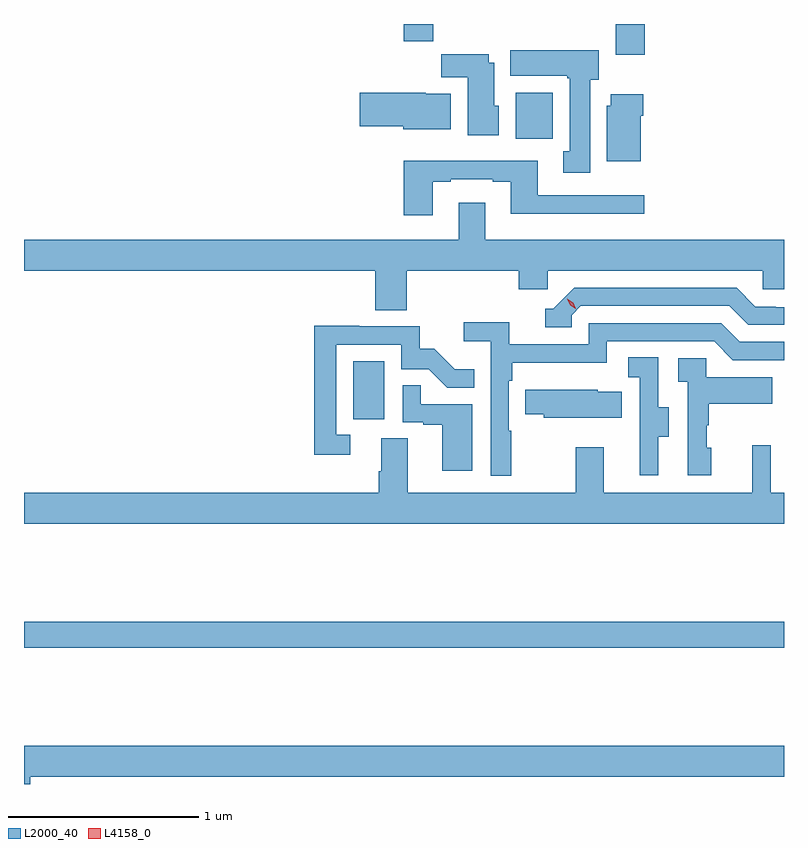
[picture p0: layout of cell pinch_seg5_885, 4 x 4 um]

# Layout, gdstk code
import gdstk
lib = gdstk.Library(unit=1e-6, precision=1e-09)
def R(c, l, rs):  # rectangles x0, y0, x1, y1
    for r in rs: c.add(gdstk.rectangle(r[:2], r[2:], *l))
def P(c, l, *ps):  # polygons
    for p in ps: c.add(gdstk.Polygon(p, *l))
L2000_40 = (2000, 40)
L4158_0 = (4158, 0)

pinch_seg5_885 = lib.new_cell('pinch_seg5_885')
R(pinch_seg5_885, L2000_40, [(874.432,885.412,878.432,885.548), (876.164,886.614,876.328,886.921), (877.019,888.092,877.216,888.334), (877.547,888.534,877.7,888.695), (876.431,888.604,876.587,888.695)])
P(pinch_seg5_885, L2000_40, [(877.411,888.402),(877.456,888.402),(877.456,888.556),(876.992,888.556),(876.992,888.422),(877.291,888.422),(877.291,888.409),(877.304,888.409),(877.304,888.026),(877.271,888.026),(877.271,887.913),(877.411,887.913)],
  [(876.931,888.264),(876.907,888.264),(876.907,888.49),(876.877,888.49),(876.877,888.535),(876.628,888.535),(876.628,888.416),(876.767,888.416),(876.767,888.11),(876.931,888.11)],
  [(876.679,888.328),(876.546,888.328),(876.546,888.334),(876.198,888.334),(876.198,888.158),(876.428,888.158),(876.428,888.14),(876.679,888.14)],
  [(877.678,888.212),(877.691,888.212),(877.691,888.325),(877.52,888.325),(877.52,888.264),(877.499,888.264),(877.499,887.972),(877.678,887.972)],
  [(876.583,887.865),(876.679,887.865),(876.679,887.877),(876.899,887.877),(876.899,887.865),(876.995,887.865),(876.995,887.696),(877.696,887.696),(877.696,887.793),(877.135,887.793),(877.135,887.974),(876.431,887.974),(876.431,887.688),(876.583,887.688)],
  [(876.446,887.396),(877.037,887.396),(877.037,887.298),(877.188,887.298),(877.188,887.396),(878.319,887.396),(878.319,887.298),(878.432,887.298),(878.432,887.56),(876.859,887.56),(876.859,887.755),(876.719,887.755),(876.719,887.56),(874.432,887.56),(874.432,887.396),(876.281,887.396),(876.281,887.188),(876.446,887.188)],
  [(877.314,887.163),(877.362,887.211),(878.145,887.211),(878.244,887.112),(878.432,887.112),(878.432,887.205),(878.388,887.205),(878.388,887.208),(878.281,887.208),(878.182,887.307),(877.329,887.307),(877.218,887.196),(877.175,887.196),(877.175,887.1),(877.314,887.1)],
  [(876.997,886.553),(876.984,886.553),(876.984,886.817),(877.003,886.817),(877.003,886.913),(877.5,886.913),(877.5,887.025),(878.064,887.025),(878.163,886.926),(878.432,886.926),(878.432,887.022),(878.2,887.022),(878.101,887.121),(877.404,887.121),(877.404,887.01),(876.986,887.01),(876.986,887.126),(876.747,887.126),(876.747,887.024),(876.888,887.024),(876.888,886.317),(876.997,886.317)],
  [(876.148,886.533),(876.075,886.533),(876.075,887.007),(876.417,887.007),(876.417,886.878),(876.561,886.878),(876.659,886.78),(876.803,886.78),(876.803,886.879),(876.699,886.879),(876.592,886.986),(876.516,886.986),(876.516,887.103),(876.197,887.103),(876.197,887.108),(875.959,887.108),(875.959,886.428),(876.148,886.428)],
  [(877.771,886.522),(877.825,886.522),(877.825,886.677),(877.77,886.677),(877.77,886.94),(877.611,886.94),(877.611,886.837),(877.674,886.837),(877.674,886.533),(877.673,886.533),(877.673,886.32),(877.771,886.32)],
  [(878.05,886.464),(878.025,886.464),(878.025,886.583),(878.035,886.583),(878.035,886.697),(878.369,886.697),(878.369,886.837),(878.022,886.837),(878.022,886.935),(877.875,886.935),(877.875,886.811),(877.926,886.811),(877.926,886.32),(878.05,886.32)],
  [(876.79,886.695),(876.521,886.695),(876.521,886.793),(876.426,886.793),(876.426,886.599),(876.533,886.599),(876.533,886.587),(876.632,886.587),(876.632,886.344),(876.79,886.344)],
  [(877.577,886.759),(877.452,886.759),(877.452,886.771),(877.069,886.771),(877.069,886.642),(877.167,886.642),(877.167,886.622),(877.577,886.622)],
  [(878.432,886.228),(878.361,886.228),(878.361,886.477),(878.264,886.477),(878.264,886.228),(877.483,886.228),(877.483,886.468),(877.336,886.468),(877.336,886.228),(876.451,886.228),(876.451,886.514),(876.311,886.514),(876.311,886.34),(876.299,886.34),(876.299,886.228),(874.432,886.228),(874.432,886.064),(878.432,886.064)],
  [(874.465,884.732),(878.432,884.732),(878.432,884.896),(874.432,884.896),(874.432,884.695),(874.465,884.695)])
P(pinch_seg5_885, L4158_0, [(877.337,887.196),(877.307,887.216),(877.291,887.249),(877.291,887.249),(877.291,887.249),(877.322,887.229),(877.337,887.196),(877.337,887.196)])

lib.write_gds('pinch_seg5_885.gds')
